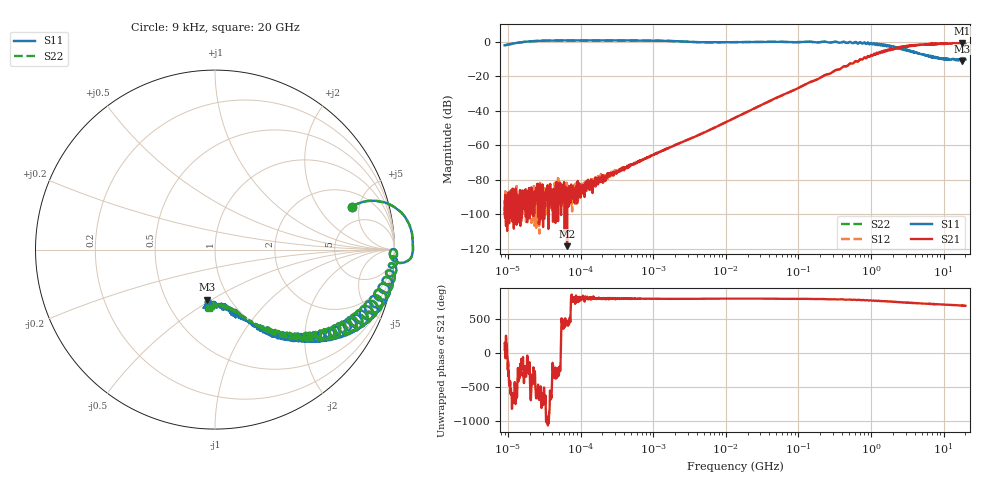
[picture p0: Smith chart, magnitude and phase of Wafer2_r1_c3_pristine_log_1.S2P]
!  2-Port S-parameters saved by WinCal
! VAR MeasName=S-Parameters (CALIBRATED_DATA) read from VNA (P5004A)
! VAR MeasDate=26/04/2024 18:13:34
! VAR NAME=Wafer2_r1_c3_pristine_log
! VAR FILENAME=Wafer2_r1_c3_pristine_log_1.S2P
! VAR DATE=26/04/2024 18:13:34
! VAR PHYS_PORTS=1,2
! VAR ObjTypeName=DATASET
! VAR IndexType=Frequency
# Hz S MA R 50
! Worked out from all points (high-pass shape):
!   2000 points, 9 kHz to 20 GHz, reference 50 ohm
!   highest |S21| = -0.64 dB at 18.05 GHz (marker M1); lowest = -118.4 dB at 65.26 kHz (marker M2)
!   |S21| within 3 dB of the highest: 2.253 GHz to 2.327 GHz (73.22 MHz wide, 3.2 % of centre); 2.336 GHz to end of sweep (the widest 2 of 4)
!   lowest |S11| = -11.0 dB at 18.19 GHz (marker M3), VSWR 1.79, Z = 39.5 - j23.9 ohm
!   |S11| at or under -10 dB: 12.1 GHz to 12.99 GHz (886.8 MHz wide, 7.07 % of centre); 14.23 GHz to 17.02 GHz (2.786 GHz wide, 17.8 % of centre); 19.19 GHz to 19.75 GHz (564.4 MHz wide, 2.9 % of centre) (the widest 3 of 15)
!   |S22| runs from -10.6 to 0.9 dB; largest |S21 - S12| = 0.036
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9000  0.7977 17.3  1.546e-05 53.9  2.599e-05 145.2  0.7978 17.3
13259.17  0.9383 16.8  2.716e-05 101.4  2.309e-05 119.0  0.9383 16.8
21957.87  1.054 11.6  1.006e-05 -99.1  2.44e-05 47.3  1.054 11.6
65262.31  1.102 3.5  1.206e-06 72.4  7.373e-05 79.8  1.102 3.5
103439.5  1.102 2.1  5.663e-05 84.1  6.698e-05 81.9  1.102 2.1
218039.1  1.103 0.7  0.0001059 81.1  0.0001088 96.9  1.103 0.7
245094.8  1.103 0.5  0.0001364 84.9  0.0001509 87.8  1.103 0.5
1180198  1.09 -2.6  0.0006076 86.0  0.0006268 87.0  1.09 -2.6
4530556  0.9808 -2.6  0.002136 86.6  0.002155 86.7  0.9808 -2.6
1.346554e7  0.986 0.1  0.006376 89.3  0.006418 88.6  0.9861 0.1
1.105652e8  0.9951 -2.2  0.05126 86.4  0.05163 86.0  0.9947 -2.2
1.536358e8  1 -5.7  0.07187 82.6  0.07118 82.8  1.001 -5.6
2.966476e8  0.982 -6.8  0.1335 81.2  0.1348 81.1  0.9818 -6.8
7.506948e8  0.8949 -21.2  0.304 66.1  0.3032 66.2  0.8966 -20.9
1.752917e9  0.7381 -38.1  0.5641 47.7  0.567 47.6  0.7376 -37.6
2.860783e9  0.6193 -50.8  0.7371 33.4  0.7415 33.1  0.6173 -50.1
5.364551e9  0.4266 -67.3  0.844 15.2  0.8418 14.9  0.4254 -65.1
9.488158e9  0.331 -81.2  0.8903 1.3  0.8808 1.1  0.3301 -76.5
1.347662e10  0.3239 -88.1  0.9231 -6.0  0.9194 -6.9  0.3096 -85.6
1.805428e10  0.3402 -98.4  0.9285 -14.6  0.9028 -16.2  0.2961 -91.7
1.818676e10  0.282 -98.8  0.8843 -16.2  0.8725 -14.1  0.3243 -90.5
2e10  0.3048 -97.7  0.8864 -17.1  0.8998 -16.5  0.3273 -96.1
